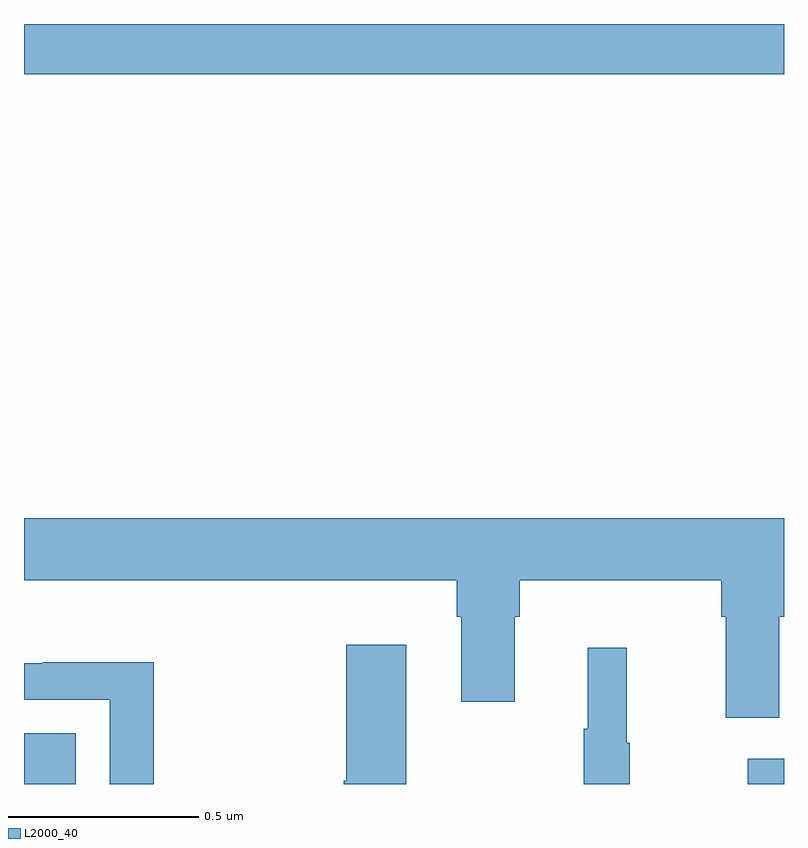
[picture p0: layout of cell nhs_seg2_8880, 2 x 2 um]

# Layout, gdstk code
import gdstk
lib = gdstk.Library(unit=1e-6, precision=1e-09)
def R(c, l, rs):  # rectangles x0, y0, x1, y1
    for r in rs: c.add(gdstk.rectangle(r[:2], r[2:], *l))
def P(c, l, *ps):  # polygons
    for p in ps: c.add(gdstk.Polygon(p, *l))
L2000_40 = (2000, 40)

nhs_seg2_8880 = lib.new_cell('nhs_seg2_8880')
R(nhs_seg2_8880, L2000_40, [(222,613.8,222.136,613.933), (223.905,613.8,224,613.867), (222,615.668,224,615.8)])
P(nhs_seg2_8880, L2000_40, [(223.987,614.24),(224,614.24),(224,614.5),(222,614.5),(222,614.336),(223.139,614.336),(223.139,614.24),(223.151,614.24),(223.151,614.016),(223.291,614.016),(223.291,614.24),(223.304,614.24),(223.304,614.336),(223.835,614.336),(223.835,614.24),(223.847,614.24),(223.847,613.974),(223.987,613.974)],
  [(223.006,614.167),(222.848,614.167),(222.848,613.809),(222.842,613.809),(222.842,613.8),(223.006,613.8)],
  [(223.594,613.908),(223.586,613.908),(223.586,614.158),(223.484,614.158),(223.484,613.945),(223.473,613.945),(223.473,613.8),(223.594,613.8)],
  [(222.341,614.12),(222.049,614.12),(222.049,614.118),(222,614.118),(222,614.022),(222.225,614.022),(222.225,613.8),(222.341,613.8)])

lib.write_gds('nhs_seg2_8880.gds')
